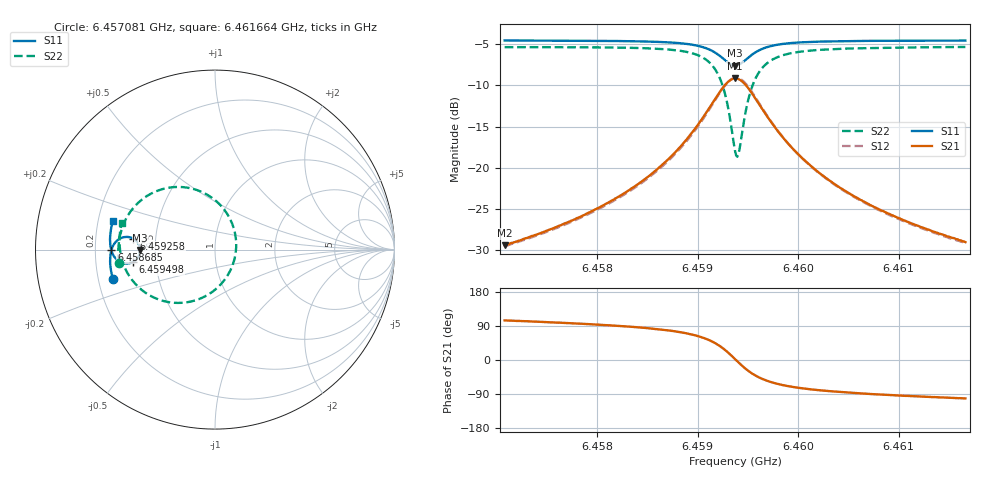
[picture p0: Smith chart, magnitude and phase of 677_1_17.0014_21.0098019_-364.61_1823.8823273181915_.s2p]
#  HZ  S  RI  R  50.00
! Rohde & Schwarz Vector Network Analyzer
! Rohde-Schwarz,ZNB20-2Port,1311601062101988,3.16
! Created: UTC 3/20/2024, 11:22:24 PM
! freq[Hz]  re:S11  im:S11  re:S21  im:S21  re:S12  im:S12  re:S22  im:S22
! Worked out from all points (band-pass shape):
!   401 points, 6.457081 GHz to 6.461664 GHz, reference 50 ohm
!   highest |S21| = -9.16 dB at 6.459372 GHz (marker M1); lowest = -29.4 dB at 6.457081 GHz (marker M2)
!   |S21| within 3 dB of the highest: 6.459147 GHz to 6.459605 GHz (458.1 kHz wide, 0.00709 % of centre)
!   lowest |S11| = -7.6 dB at 6.459372 GHz (marker M3), VSWR 2.43, Z = 20.6 - j0.0845 ohm
!   |S11| at or under -10 dB: nowhere
!   |S22| runs from -18.7 to -5.3 dB; largest |S21 - S12| = 0.014
!   S11 on the Smith chart (normalised r, x): 6.457081 GHz: 0.26, -0.13; 6.458685 GHz: 0.27, -0.00; 6.459258 GHz: 0.37, +0.06; 6.459498 GHz: 0.37, -0.07; 6.461664 GHz: 0.26, +0.13
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6.4570808e9  -0.5691 -0.1638  -0.00843 0.0327  -0.00672 0.0328  -0.534 -0.0763
6.4578485e9  -0.5821 -0.0965  -0.00494 0.0507  -0.00242 0.0502  -0.5379 0.0138
6.4582724e9  -0.5844 -0.054  0.00129 0.0702  0.00458 0.0688  -0.5288 0.0812
6.4586161e9  -0.58 -0.0128  0.0156 0.0988  0.0194 0.096  -0.5024 0.1585
6.4586848e9  -0.5776 -0.00319  0.0208 0.1071  0.0249 0.1037  -0.4923 0.1783
6.4588796e9  -0.5648 0.027  0.0477 0.1375  0.0516 0.1325  -0.442 0.2468
6.4590285e9  -0.5422 0.053  0.0928 0.1677  0.0959 0.1609  -0.3587 0.3104
6.459166e9  -0.4986 0.0705  0.1791 0.1842  0.1798 0.1767  -0.2008 0.349
6.4592577e9  -0.4541 0.0607  0.2687 0.1538  0.2685 0.148  -0.0353 0.301
6.4593035e9  -0.4326 0.0424  0.3129 0.1119  0.3138 0.107  0.0487 0.2264
6.4593723e9  -0.4169 -0.0017  0.348 0.0153  0.3516 0.00893  0.1177 0.0474
6.4594066e9  -0.4202 -0.0256  0.343 -0.0378  0.3472 -0.0464  0.1085 -0.0537
6.4594525e9  -0.4354 -0.0525  0.315 -0.0992  0.3177 -0.1108  0.0523 -0.1698
6.4594983e9  -0.4577 -0.0695  0.2728 -0.1416  0.2725 -0.1548  -0.0333 -0.2479
6.4595441e9  -0.4809 -0.0769  0.2275 -0.1651  0.224 -0.1782  -0.1243 -0.2869
6.4595899e9  -0.5018 -0.077  0.1863 -0.1742  0.1802 -0.186  -0.2062 -0.297
6.4597389e9  -0.5464 -0.0563  0.0963 -0.1599  0.0876 -0.1663  -0.3779 -0.2467
6.4598993e9  -0.5682 -0.0282  0.0506 -0.131  0.0429 -0.1339  -0.4595 -0.1723
6.4601399e9  -0.5808 0.00764  0.0214 -0.0987  0.0154 -0.0992  -0.5077 -0.0884
6.4604721e9  -0.5849 0.0475  0.00571 -0.0719  0.00155 -0.0713  -0.5282 -0.0103
6.4609075e9  -0.5825 0.0915  -0.00218 -0.0524  -0.00505 -0.0513  -0.532 0.0608
6.4616637e9  -0.5696 0.1583  -0.00699 -0.0347  -0.00878 -0.0338  -0.5193 0.1503
